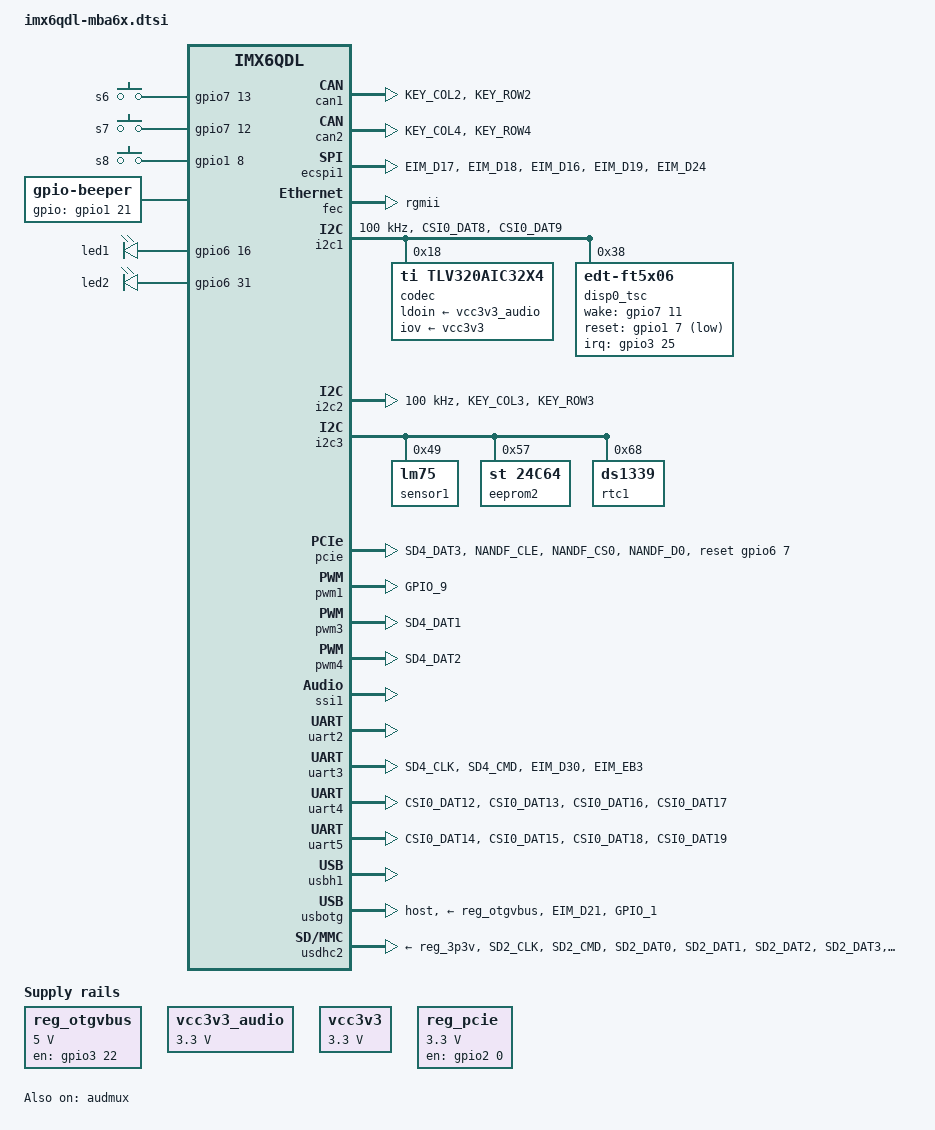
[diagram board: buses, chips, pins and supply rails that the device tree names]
/*
 * Copyright 2013 Sascha Hauer, Pengutronix
 *
 * The code contained herein is licensed under the GNU General Public
 * License. You may obtain a copy of the GNU General Public License
 * Version 2 or later at the following locations:
 *
 * http://www.opensource.org/licenses/gpl-license.html
 * http://www.gnu.org/copyleft/gpl.html
 */

#include <dt-bindings/sound/fsl-imx-audmux.h>

/ {
	aliases {
		mmc0 = &usdhc2;
		mmc1 = &usdhc3;
	};

	gpio_buttons: gpio_buttons@0 {
		compatible = "gpio-keys";
		#address-cells = <1>;
		#size-cells = <0>;
		pinctrl-names = "default";
		pinctrl-0 = <&pinctrl_gpiobuttons_1>;

		button@1 {
			label = "s6";
			linux,code = <64>; /* KEY_F6 */
			gpios = <&gpio7 13 0>;
		};

		button@2 {
			label = "s7";
			linux,code = <65>; /* KEY_F7 */
			gpios = <&gpio7 12 0>;
		};

		button@3 {
			label = "s8";
			linux,code = <66>; /* KEY_F8 */
			gpios = <&gpio1 8 0>;
		};
	};

	beeper: beeper@0 {
		compatible = "gpio-beeper";
		gpios = <&gpio1 21 GPIO_ACTIVE_HIGH>;
	};

	backlight_ldb: backlight@0 {
		compatible = "pwm-backlight";
		pwms = <&pwm1 0 62500>;

		brightness-levels = <0 96 128 160 192 224 255>;
		default-brightness-level = <5>;

		power-supply = <&vcc3v3>;
		enable-gpios = <&gpio4 5 GPIO_ACTIVE_HIGH>;

		status = "disabled";
	};

	backlight_pd: backlight@1 {
		compatible = "pwm-backlight";
		pwms = <&pwm1 0 5000000>;

		brightness-levels = <255 128 64 32 16 8 4 1 0>;
		default-brightness-level = <6>;

		power-supply = <&vcc3v3>;
		enable-gpios = <&gpio4 5 GPIO_ACTIVE_HIGH>;

		status = "disabled";
	};

	backlight_rev0100: backlight@2 {
		compatible = "gpio-backlight";
		gpios = <&gpio4 20 GPIO_ACTIVE_HIGH>; /* LCD.CONTRAST */
		status = "disabled";
	};

	disp0: display@0 {
		compatible = "fsl,imx-parallel-display";
		#address-cells = <1>;
		#size-cells = <0>;
		pinctrl-names = "default";
		pinctrl-0 = <&pinctrl_disp0_ipu1>;
		interface-pix-fmt = "bgr666";
		status = "disabled";

		port@0 {
			display0_in: endpoint {
				remote-endpoint = <&ipu1_di0_disp0>;
			};
		};

		display-timings {
			native-mode = <&ET0700G0DH6>;
			ET0700G0DH6: timing0 {
				clock-frequency = <33260000>;
				hactive = <800>;
				vactive = <480>;
				hback-porch = <100>;
				hfront-porch = <155>;
				vback-porch = <20>;
				vfront-porch = <25>;
				hsync-len = <1>;
				vsync-len = <1>;
				hsync-active = <0>;
				vsync-active = <0>;
				de-active = <1>;
				pixelclk-active = <1>;
			};
			tx14d11vm1cpd {
				clock-frequency = <4854369 5847953 7042253>;
				hactive = <320>;
				vactive = <240>;
				hfront-porch = <22 30 35>;
				hback-porch = <23 30 35>;
				hsync-len = <4 5 7>;
				vback-porch = <4 5 9>;
				vfront-porch = <5 6 10>;
				vsync-len = <2>;
				pixelclk-active = <1>;
				hsync-active = <0>;
				vsync-active = <0>;
				de-active = <1>;
			};
		};
	};

	gpio-leds {
		compatible = "gpio-leds";
		pinctrl-names = "default";
		pinctrl-0 = <&pinctrl_led>;
		status = "okay";

		led1 {
			label = "led1";
			gpios = <&gpio6 16 0>;
			linux,default-trigger = "default-on";
		};

		led2 {
			label = "led2";
			gpios = <&gpio6 31 0>;
			linux,default-trigger = "heartbeat";
		};
	};

	regulators {
		compatible = "simple-bus";
		#address-cells = <1>;
		#size-cells = <0>;

		reg_otgvbus: regulator@0 {
			compatible = "regulator-fixed";
			reg = <0>;
			regulator-name = "otg-vbus-supply";
			regulator-min-microvolt = <5000000>;
			regulator-max-microvolt = <5000000>;
			gpio = <&gpio3 22 0>;
			enable-active-high;
		};

		vcc3v3_audio: regulator@1 {
			compatible = "regulator-fixed";
			reg = <1>;
			regulator-name = "vcc3v3-audio";
			regulator-min-microvolt = <3300000>;
			regulator-max-microvolt = <3300000>;
		};

		vcc3v3: regulator@2 {
			compatible = "regulator-fixed";
			reg = <2>;
			regulator-name = "vcc3v3";
			regulator-min-microvolt = <3300000>;
			regulator-max-microvolt = <3300000>;
		};

		reg_pcie: regulator@3 {
			compatible = "regulator-fixed";
			reg = <3>;
			regulator-name = "vcc-pcie";
			regulator-min-microvolt = <3300000>;
			regulator-max-microvolt = <3300000>;
			gpio = <&gpio2 0 0>; /* PCIE.PWR_EN */
			enable-active-high;
		};

		reg_backlight_rev0100: regulator@4 {
			compatible = "regulator-fixed";
			reg = <4>;
			regulator-name = "vcc-backlight_rev0100";
			regulator-min-microvolt = <3300000>;
			regulator-max-microvolt = <3300000>;
			gpios = <&gpio4 5 0>; /* LCD.BLT_EN */
			enable-active-high;
			enable-boot-on;
			enable-always-on;
			status = "disabled";
		};
	};

	sound {
		compatible = "fsl,imx6-tqma6x-tlv320aic32x4",
			     "fsl,imx-audio-tlv320aic32x4";
		pinctrl-names = "default";
		pinctrl-0 = <&pinctrl_audmux_2>;
		model = "imx6-tqma6x-tlv320aic32";
		ssi-controller = <&ssi1>;
		audio-codec = <&codec>;
		mux-int-port = <1>;
		mux-ext-port = <3>;
	};
};

&audmux {
	status = "okay";

	ssi0 {
		fsl,audmux-port = <MX31_AUDMUX_PORT1_SSI0>;
		fsl,port-config = <
			(IMX_AUDMUX_V2_PTCR_SYN |
				IMX_AUDMUX_V2_PTCR_TFSDIR |
				IMX_AUDMUX_V2_PTCR_TFSEL(MX31_AUDMUX_PORT3_SSI_PINS_3) |
				IMX_AUDMUX_V2_PTCR_TCLKDIR |
				IMX_AUDMUX_V2_PTCR_TCSEL(MX31_AUDMUX_PORT3_SSI_PINS_3))
			IMX_AUDMUX_V2_PDCR_RXDSEL(MX31_AUDMUX_PORT3_SSI_PINS_3)
		>;
	};

	aud3 {
		fsl,audmux-port = <MX31_AUDMUX_PORT3_SSI_PINS_3>;
		fsl,port-config = <
			IMX_AUDMUX_V2_PTCR_SYN
			IMX_AUDMUX_V2_PDCR_RXDSEL(MX31_AUDMUX_PORT1_SSI0)
		>;
	};
};

&can1 {
	pinctrl-names = "default";
	pinctrl-0 = <&pinctrl_can1_1>;
	status = "okay";
};

&can2 {
	pinctrl-names = "default";
	pinctrl-0 = <&pinctrl_can2_1>;
	status = "okay";
};

&ecspi1 {
	pinctrl-names = "default";
	pinctrl-0 = <&pinctrl_ecspi1_mba6x>;
	fsl,spi-num-chipselects = <2>;
	cs-gpios = <&gpio3 19 0>, <&gpio3 24 0>;
};

&fec {
	pinctrl-names = "default";
	pinctrl-0 = <&pinctrl_enet_tqma6x_1>;
	phy-mode = "rgmii";
	status = "okay";
};

&hdmi {
	status = "disabled";
	ddc-i2c-bus = <&i2c2>;
};

&i2c1 {
	status = "okay";
	clock-frequency = <100000>;
	pinctrl-names = "default";
	pinctrl-0 = <&pinctrl_i2c1_2>;

	codec: tlv320aic32x4@18 {
		compatible = "ti,tlv320aic32x4";
		reg = <0x18>;
		clocks = <&clks 201>;
		clock-names = "mclk";
		pinctrl-names = "default";
		pinctrl-0 = <&pinctrl_codec>;
		ldoin-supply = <&vcc3v3_audio>;
		iov-supply = <&vcc3v3>;
	};

	disp0_tsc: edt-ft5x06@38 {
		compatible = "edt-ft5x06";
		reg = <0x38>;
		pinctrl-names = "default";
		pinctrl-0 = <&pinctrl_ft5x06>;
		interrupt-parent = <&gpio3>;
		interrupts = <25 0x0>;
		wake-gpios = <&gpio7 11 GPIO_ACTIVE_HIGH>; /* LCD.PWR_EN -> TSC /WAKE */
		reset-gpios = <&gpio1 7 GPIO_ACTIVE_LOW>; /* LCD.RESET -> TSC /RST */
	};
};

&i2c2 {
	status = "okay";
	clock-frequency = <100000>;
	pinctrl-names = "default";
	pinctrl-0 = <&pinctrl_i2c2_2>;
};

&i2c3 {
	sensor1: lm75@49 {
		compatible = "lm75";
		reg = <0x49>;
	};

	eeprom2: m24c64@57 {
		compatible = "st,24c64", "at24";
		reg = <0x57>;
		pagesize = <32>;
	};

	rtc1: ds1339@68 {
		compatible = "ds1339";
		reg = <0x68>;
	};
};

&iomuxc {
	pinctrl-names = "default";
	pinctrl-0 = <&pinctrl_hog>;

	audmux {
		pinctrl_audmux_2: audmux-2 {
			fsl,pins = <
				MX6QDL_PAD_CSI0_DAT7__AUD3_RXD  0x80000000
				MX6QDL_PAD_CSI0_DAT4__AUD3_TXC  0x80000000
				MX6QDL_PAD_CSI0_DAT5__AUD3_TXD  0x80000000
				MX6QDL_PAD_CSI0_DAT6__AUD3_TXFS 0x80000000
			>;
		};
	};

	beeper {
		pinctrl_beeper: beepergrp {
			fsl,pins = <
				MX6QDL_PAD_SD1_DAT3__GPIO1_IO21 0x80000000 /* beeper (1 = on) */
			>;
		};
	};

	can1 {
		pinctrl_can1_1: can1grp-1 {
			fsl,pins = <
				MX6QDL_PAD_KEY_COL2__FLEXCAN1_TX 0x80000000
				MX6QDL_PAD_KEY_ROW2__FLEXCAN1_RX 0x80000000
			>;
		};
	};

	can2 {
		pinctrl_can2_1: can2grp-1 {
			fsl,pins = <
				MX6QDL_PAD_KEY_COL4__FLEXCAN2_TX 0x80000000
				MX6QDL_PAD_KEY_ROW4__FLEXCAN2_RX 0x80000000
			>;
		};
	};

	codec {
		pinctrl_codec: codec-1 {
			fsl,pins = <
				MX6QDL_PAD_CSI0_MCLK__CCM_CLKO1 0xb0 /* CLK */
			>;
		};
	};

	disp0 {
		pinctrl_disp0_ipu1: disp0grp-1 {
			fsl,pins = <
				MX6QDL_PAD_DISP0_DAT0__IPU1_DISP0_DATA00 0x80000000
				MX6QDL_PAD_DISP0_DAT1__IPU1_DISP0_DATA01 0x80000000
				MX6QDL_PAD_DISP0_DAT2__IPU1_DISP0_DATA02 0x80000000
				MX6QDL_PAD_DISP0_DAT3__IPU1_DISP0_DATA03 0x80000000
				MX6QDL_PAD_DISP0_DAT4__IPU1_DISP0_DATA04 0x80000000
				MX6QDL_PAD_DISP0_DAT5__IPU1_DISP0_DATA05 0x80000000
				MX6QDL_PAD_DISP0_DAT6__IPU1_DISP0_DATA06 0x80000000
				MX6QDL_PAD_DISP0_DAT7__IPU1_DISP0_DATA07 0x80000000
				MX6QDL_PAD_DISP0_DAT8__IPU1_DISP0_DATA08 0x80000000
				MX6QDL_PAD_DISP0_DAT9__IPU1_DISP0_DATA09 0x80000000
				MX6QDL_PAD_DISP0_DAT10__IPU1_DISP0_DATA10 0x80000000
				MX6QDL_PAD_DISP0_DAT11__IPU1_DISP0_DATA11 0x80000000
				MX6QDL_PAD_DISP0_DAT12__IPU1_DISP0_DATA12 0x80000000
				MX6QDL_PAD_DISP0_DAT13__IPU1_DISP0_DATA13 0x80000000
				MX6QDL_PAD_DISP0_DAT14__IPU1_DISP0_DATA14 0x80000000
				MX6QDL_PAD_DISP0_DAT15__IPU1_DISP0_DATA15 0x80000000
				MX6QDL_PAD_DISP0_DAT16__IPU1_DISP0_DATA16 0x80000000
				MX6QDL_PAD_DISP0_DAT17__IPU1_DISP0_DATA17 0x80000000
				MX6QDL_PAD_DISP0_DAT18__IPU1_DISP0_DATA18 0x80000000
				MX6QDL_PAD_DISP0_DAT19__IPU1_DISP0_DATA19 0x80000000
				MX6QDL_PAD_DISP0_DAT20__IPU1_DISP0_DATA20 0x80000000
				MX6QDL_PAD_DISP0_DAT21__IPU1_DISP0_DATA21 0x80000000
				MX6QDL_PAD_DISP0_DAT22__IPU1_DISP0_DATA22 0x80000000
				MX6QDL_PAD_DISP0_DAT23__IPU1_DISP0_DATA23 0x80000000
				MX6QDL_PAD_DI0_PIN2__IPU1_DI0_PIN02 0x80000000
				MX6QDL_PAD_DI0_PIN3__IPU1_DI0_PIN03 0x80000000
				MX6QDL_PAD_DI0_PIN15__IPU1_DI0_PIN15 0x80000000
				MX6QDL_PAD_DI0_DISP_CLK__IPU1_DI0_DISP_CLK 0x80000000
			>;
		};
	};

	ecspi1 {
		pinctrl_ecspi1_mba6x: ecspi1grp-mba6x {
			fsl,pins = <
				/* HYS, SPEED = MED, 100k up, DSE = 011, SRE_FAST */
				MX6QDL_PAD_EIM_D17__ECSPI1_MISO 0x1b099
				MX6QDL_PAD_EIM_D18__ECSPI1_MOSI 0xb099
				MX6QDL_PAD_EIM_D16__ECSPI1_SCLK 0xb099
				MX6QDL_PAD_EIM_D19__GPIO3_IO19 0xb099 /* eCSPI1 SS1 */
				MX6QDL_PAD_EIM_D24__GPIO3_IO24 0xb099 /* eCSPI1 SS2 */
				/* TODO: eCSPI1 SS3 -> used as Touch IRQ */
				/* MX6QDL_PAD_EIM_D25__GPIO3_IO25 0xb099 */
			>;
		};
	};

	gpiobuttons {
		pinctrl_gpiobuttons_1: gpiogrp-1 {
			fsl,pins = <
				MX6QDL_PAD_GPIO_17__GPIO7_IO12 0x80000000
				MX6QDL_PAD_GPIO_18__GPIO7_IO13 0x80000000
				MX6QDL_PAD_GPIO_8__GPIO1_IO08 0x80000000
			>;
		};
	};

	hog {
		pinctrl_hog: hoggrp-1 {
			fsl,pins = <
				MX6QDL_PAD_ENET_CRS_DV__GPIO1_IO25 0x80000000 /* FEC phy reset */
				MX6QDL_PAD_NANDF_RB0__GPIO6_IO10 0x80000000 /* PMIC irq */
				MX6QDL_PAD_EIM_D22__GPIO3_IO22 0x80000000 /* OTG_PWR */
				MX6QDL_PAD_GPIO_19__GPIO4_IO05 0x80000000 /* LCD.BLT_EN */
				/* LCD.CONTRAST -> Rev 0100 only, not used on Rev.0200*/
				MX6QDL_PAD_DI0_PIN4__GPIO4_IO20 0x80000000

				MX6QDL_PAD_NANDF_CS2__CCM_CLKO2 0xb0 /* CLK out */

				MX6QDL_PAD_ENET_RXD1__GPIO1_IO26 0x0001b099
				MX6QDL_PAD_ENET_TXD1__GPIO1_IO29 0x0001b099
				MX6QDL_PAD_ENET_TXD0__GPIO1_IO30 0x0001b099

				MX6QDL_PAD_NANDF_D1__GPIO2_IO01 0x0001b099
				MX6QDL_PAD_NANDF_D2__GPIO2_IO02 0x0001b099
				MX6QDL_PAD_NANDF_D3__GPIO2_IO03 0x0001b099
				MX6QDL_PAD_SD4_DAT0__GPIO2_IO08 0x0001b099
				MX6QDL_PAD_EIM_CS0__GPIO2_IO23 0x0001b099
				MX6QDL_PAD_EIM_CS1__GPIO2_IO24 0x0001b099
				MX6QDL_PAD_EIM_OE__GPIO2_IO25 0x0001b099

				MX6QDL_PAD_EIM_D20__GPIO3_IO20 0x0001b099
				MX6QDL_PAD_EIM_D26__GPIO3_IO26 0x0001b099
				MX6QDL_PAD_EIM_D27__GPIO3_IO27 0x0001b099
				MX6QDL_PAD_EIM_D28__GPIO3_IO28 0x0001b099
				MX6QDL_PAD_EIM_D29__GPIO3_IO29 0x0001b099

				MX6QDL_PAD_KEY_COL0__GPIO4_IO06 0x0001b099
				MX6QDL_PAD_KEY_ROW0__GPIO4_IO07 0x0001b099
				MX6QDL_PAD_KEY_COL1__GPIO4_IO08 0x0001b099
				MX6QDL_PAD_KEY_ROW1__GPIO4_IO09 0x0001b099

				MX6QDL_PAD_CSI0_PIXCLK__GPIO5_IO18 0x0001b099
				MX6QDL_PAD_CSI0_DATA_EN__GPIO5_IO20 0x0001b099
				MX6QDL_PAD_CSI0_VSYNC__GPIO5_IO21 0x0001b099

				MX6QDL_PAD_NANDF_ALE__GPIO6_IO08 0x0001b099
				MX6QDL_PAD_NANDF_CS1__GPIO6_IO14 0x0001b099
			>;
		};
	};

	i2c1 {
					pinctrl_i2c1_2: i2c1grp-2 {
						fsl,pins = <
							MX6QDL_PAD_CSI0_DAT8__I2C1_SDA 0x4001b8b1
							MX6QDL_PAD_CSI0_DAT9__I2C1_SCL 0x4001b8b1
						>;
					};
	};

	i2c2 {
		pinctrl_i2c2_2: i2c2grp-2 {
			fsl,pins = <
				MX6QDL_PAD_KEY_COL3__I2C2_SCL 0x4001b8b1
				MX6QDL_PAD_KEY_ROW3__I2C2_SDA 0x4001b8b1
			>;
		};
	};

	led {
		pinctrl_led: ledgrp {
			fsl,pins = <
				MX6QDL_PAD_NANDF_CS3__GPIO6_IO16 0x80000000 /* LED V15 */
				MX6QDL_PAD_EIM_BCLK__GPIO6_IO31 0x80000000 /* LED V16 */
			>;
		};
	};

	pcie {
		pinctrl_pcie_mba6x: pciegrp-mba6x-1 {
			fsl,pins = <
				/* HYS = 1, DSE = 110, 100k up, SPEED = HIGH (11)*/
				MX6QDL_PAD_SD4_DAT3__GPIO2_IO11 0x001b0f0 /* #PCIE.WAKE */
				MX6QDL_PAD_NANDF_CLE__GPIO6_IO07 0x001b0f0 /* #PCIE.RST */
				MX6QDL_PAD_NANDF_CS0__GPIO6_IO11 0x001b0f0 /* #PCIE.DIS */
				/* HYS = 1, DSE = 110, PUE+PKE + 100k up, SPEED = HIGH (11)*/
				MX6QDL_PAD_NANDF_D0__GPIO2_IO00 0x0000b0f0 /* PCIE.PWR_EN */
			>;
		};
	};

	pwm1 {
		pinctrl_pwm1_mba6x: pwm1grp-mba6x-1 {
			fsl,pins = <
				/* 100 k PD, DSE 120 OHM, SPPEED LO */
				MX6QDL_PAD_GPIO_9__PWM1_OUT 0x00003050
			>;
		};
	};

	pwm3 {
		pinctrl_pwm3_mba6x: pwm3grp-mba6x-1 {
			fsl,pins = <
				/* 100 k PD, DSE 120 OHM, SPPEED LO */
				MX6QDL_PAD_SD4_DAT1__PWM3_OUT 0x00003050
			>;
		};
	};

	pwm4 {
		pinctrl_pwm4_mba6x: pwm4grp-mba6x-1 {
			fsl,pins = <
				/* 100 k PD, DSE 120 OHM, SPPEED LO */
				MX6QDL_PAD_SD4_DAT2__PWM4_OUT 0x00003050
			>;
		};
	};

	tsc {
		pinctrl_ft5x06: ft5x06grp {
			fsl,pins = <
				/* LCD.RESET -> TSC /RST */
				MX6QDL_PAD_GPIO_7__GPIO1_IO07  0x00001090
				/* LCD.PWR_EN -> TSC /WAKE */
				MX6QDL_PAD_GPIO_16__GPIO7_IO11 0x00001090
				/* TSC Interrupt line: HYS, PKE, SPEED MED, DSE 240 OHM */
				MX6QDL_PAD_EIM_D25__GPIO3_IO25 0x00013088
			>;
		};
	};

	uart3 {
		pinctrl_uart3_1: uart3grp-1 {
			fsl,pins = <
				MX6QDL_PAD_SD4_CLK__UART3_RX_DATA 0x1b0b1
				MX6QDL_PAD_SD4_CMD__UART3_TX_DATA 0x1b0b1
				MX6QDL_PAD_EIM_D30__UART3_CTS_B   0x1b0b1
				MX6QDL_PAD_EIM_EB3__UART3_RTS_B   0x1b0b1
			>;
		};
	};

	uart4 {
		pinctrl_uart4_2: uart4grp-2 {
			fsl,pins = <
				MX6QDL_PAD_CSI0_DAT12__UART4_TX_DATA 0x1b0b1
				MX6QDL_PAD_CSI0_DAT13__UART4_RX_DATA 0x1b0b1
				MX6QDL_PAD_CSI0_DAT16__UART4_RTS_B 0x1b0b1
				MX6QDL_PAD_CSI0_DAT17__UART4_CTS_B 0x1b0b1
			>;
		};
	};

	uart5 {
		pinctrl_uart5_1: uart5grp-1 {
			fsl,pins = <
				MX6QDL_PAD_CSI0_DAT14__UART5_TX_DATA 0x1b0b1
				MX6QDL_PAD_CSI0_DAT15__UART5_RX_DATA 0x1b0b1
				MX6QDL_PAD_CSI0_DAT18__UART5_RTS_B 0x1b0b1
				MX6QDL_PAD_CSI0_DAT19__UART5_CTS_B 0x1b0b1
			>;
		};
	};

	usdhc2 {
		pinctrl_usdhc2: usdhc2grp {
			fsl,pins = <
				/* CLK: 47k Pup SPD_LOW DSE 40Ohm SRE_FAST HYS */
				MX6QDL_PAD_SD2_CLK__SD2_CLK    0x00017071
				/* SD2: 47k Pup SPD_LOW DSE 80Ohm SRE_FAST HYS */
				MX6QDL_PAD_SD2_CMD__SD2_CMD    0x00017059
				MX6QDL_PAD_SD2_DAT0__SD2_DATA0 0x00017059
				MX6QDL_PAD_SD2_DAT1__SD2_DATA1 0x00017059
				MX6QDL_PAD_SD2_DAT2__SD2_DATA2 0x00017059
				MX6QDL_PAD_SD2_DAT3__SD2_DATA3 0x00017059

				MX6QDL_PAD_GPIO_4__GPIO1_IO04  0x80000000 /* usdhc2 CD */
				MX6QDL_PAD_GPIO_2__GPIO1_IO02 0x80000000 /* usdhc2 WP */
			>;
		};
	};

	usbotg {
		pinctrl_usbotg_mba6x: usbotggrp-mba6x {
			fsl,pins = <
				MX6QDL_PAD_EIM_D21__USB_OTG_OC 0x1b0b0
				MX6QDL_PAD_GPIO_1__USB_OTG_ID  0x17059
			>;
		};
	};

	wdog1 {
		pinctrl_wdog1_mba6x: wdog1grp_mba6x {
			fsl,pins = <
				MX6QDL_PAD_SD1_DAT2__WDOG1_B 0x80000000 /* Watchdog out */
			>;
		};
	};
};

&ipu1_di0_disp0 {
	remote-endpoint = <&display0_in>;
};

&ldb {
	status = "disabled";

	lvds-channel@0 {
		fsl,data-mapping = "spwg";
		fsl,data-width = <24>;
		native-mode = <&chimei_g104_x1>;
		status = "disabled";

		display-timings {
			chimei_g104_x1: chimei-g104-x1 {
				clock-frequency = <55000000 65000000 75000000>;
				hactive = <1024>;
				vactive = <768>;
				hfront-porch = <75>;
				hback-porch = <10>;
				hsync-len = <76 255 776>; /* FIXME: typ < 256!*/
				vback-porch = <100>;
				vfront-porch = <10>;
				vsync-len = <2 38 182>;
				de-active = <1>;
				hsync-active = <0>;
				vsync-active = <0>;
			};
			chimei_g0720y2_l01: chimei-g070y2-l01 {
				clock-frequency = <27000000 29500000 33000000>;
				hactive = <800>;
				vactive = <480>;
				hfront-porch = <0>;
				hback-porch = <0>;
				hsync-len = <130 192 290>;
				vback-porch = <0>;
				vfront-porch = <2>;
				vsync-len = <10 20 70>;
				de-active = <1>;
				hsync-active = <0>;
				vsync-active = <0>;
			};

			auo_g156_xw01: auo-g156-xw01 {
				clock-frequency = <60000000 76000000 90000000>;
				hactive = <1366>;
				vactive = <768>;
				hfront-porch = <10>;
				hback-porch = <10>;
				hsync-len = <80 200 570>;
				vback-porch = <100>;
				vfront-porch = <10>;
				vsync-len = <10 38 120>;
				de-active = <1>;
				hsync-active = <0>;
				vsync-active = <0>;
			};
		};
	};

	lvds-channel@1 {
		fsl,data-mapping = "spwg";
		fsl,data-width = <18>;
		native-mode = <&lq085y3lg13>;
		status = "disabled";

		display-timings {
			lq085y3lg13: lq085y3lg13 { /* needs fsl,data-width = <18> */
				clock-frequency = <26200000 26600000 27000000>;
				hactive = <800>;
				vactive = <480>;
				hfront-porch = <10>;
				hback-porch = <0>;
				hsync-len = <255>; /* FIXME: typ < 256!!*/
				vback-porch = <0>;
				vfront-porch = <2>; /* move 2 lines up */
				vsync-len = <40 45 50>;
				de-active = <1>;
				hsync-active = <0>;
				vsync-active = <0>;
			};
		};
	};
};

&pcie {
	status = "okay";
	pinctrl-names = "default";
	pinctrl-0 = <&pinctrl_pcie_mba6x>;
	reset-gpio = <&gpio6 7 0>;
	vcc-supply = <&reg_pcie>;
};

&pwm1 {
	status = "okay";
	pinctrl-names = "default";
	pinctrl-0 = <&pinctrl_pwm1_mba6x>;
};

&pwm3 {
	status = "okay";
	pinctrl-names = "default";
	pinctrl-0 = <&pinctrl_pwm3_mba6x>;
};

&pwm4 {
	status = "okay";
	pinctrl-names = "default";
	pinctrl-0 = <&pinctrl_pwm4_mba6x>;
};

&ssi1 {
	fsl,mode = "i2s-slave";
	status = "okay";
};

&uart2 {
	status = "okay";
	pinctrl-names = "default";
	pinctrl-0 = <&pinctrl_uart2_2>;
};

&uart3 {
	status = "okay";
	pinctrl-names = "default";
	pinctrl-0 = <&pinctrl_uart3_1>;
	fsl,uart-has-rtscts;
};

&uart4 {
	status = "okay";
	pinctrl-names = "default";
	pinctrl-0 = <&pinctrl_uart4_2>;
	fsl,uart-has-rtscts;
};

&uart5 {
	status = "okay";
	pinctrl-names = "default";
	pinctrl-0 = <&pinctrl_uart5_1>;
	fsl,uart-has-rtscts;
};

&usbh1 {
	status = "okay";
	barebox,phy_type = "utmi";
	disable-over-current;
};

&usbotg {
	pinctrl-names = "default";
	pinctrl-0 = <&pinctrl_usbotg_mba6x>;
	barebox,phy_type = "utmi";
	barebox,dr_mode = "peripheral";
	dr_mode = "host";
	otg_id_pin_select_change;
	vbus-supply = <&reg_otgvbus>;
	status = "okay";
};

&usdhc2 { /* Baseboard Slot */
	pinctrl-names = "default";
	pinctrl-0 = <&pinctrl_usdhc2>;
	vmmc-supply = <&reg_3p3v>;
	cd-gpios = <&gpio1 4 0>;
	wp-gpios = <&gpio1 2 0>;
	status = "okay";
};

&wdog1 {
	pinctrl-names = "default";
	pinctrl-0 = <&pinctrl_wdog1_mba6x>;
};
